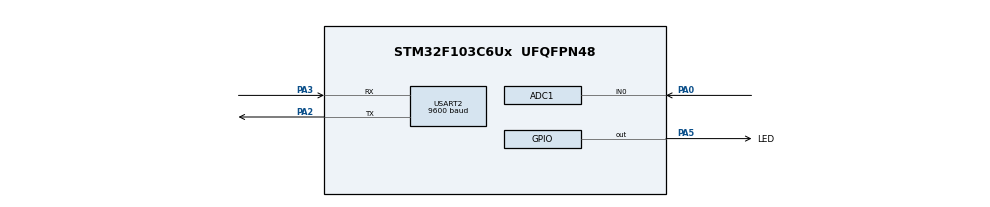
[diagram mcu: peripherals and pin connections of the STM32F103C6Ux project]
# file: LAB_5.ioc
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ADC1.Channel-0\#ChannelRegularConversion=ADC_CHANNEL_0
ADC1.ContinuousConvMode=ENABLE
ADC1.NbrOfConversionFlag=1
ADC1.Rank-0\#ChannelRegularConversion=1
ADC1.SamplingTime-0\#ChannelRegularConversion=ADC_SAMPLETIME_1CYCLE_5
ADC1.master=1
Mcu.Family=STM32F1
Mcu.Name=STM32F103C6Ux
Mcu.Package=UFQFPN48
NVIC.PriorityGroup=NVIC_PRIORITYGROUP_4
NVIC.TIM2_IRQn=true\:0\:0\:false\:false\:true\:true\:true
NVIC.USART2_IRQn=true\:0\:0\:false\:false\:true\:true\:true
PA0-WKUP.Signal=ADCx_IN0
PA2.Mode=Asynchronous
PA2.Signal=USART2_TX
PA3.Mode=Asynchronous
PA3.Signal=USART2_RX
PA5.GPIO_Label=LED
PA5.Signal=GPIO_Output
ProjectManager.HeapSize=0x200
ProjectManager.StackSize=0x400
ProjectManager.TargetToolchain=STM32CubeIDE
RCC.APB1Freq_Value=8000000
RCC.APB2Freq_Value=8000000
SH.ADCx_IN0.0=ADC1_IN0,IN0
TIM2.Period=7999
TIM2.Prescaler=9
USART2.BaudRate=9600
USART2.VirtualMode=VM_ASYNC
VP_SYS_VS_ND.Mode=No_Debug
VP_TIM2_VS_ClockSourceINT.Mode=Internal
board=custom

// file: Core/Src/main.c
/* USER CODE BEGIN Header */
/**
  ******************************************************************************
  * @file           : main.c
  * @brief          : Main program body
  ******************************************************************************
  * @attention
  *
  * <h2><center>&copy; Copyright (c) 2023 STMicroelectronics.
  * All rights reserved.</center></h2>
  *
  * This software component is licensed by ST under BSD 3-Clause license,
  * the "License"; You may not use this file except in compliance with the
  * License. You may obtain a copy of the License at:
  *                        opensource.org/licenses/BSD-3-Clause
  *
  ******************************************************************************
  */
/* USER CODE END Header */
#include "main.h"

/* USER CODE BEGIN Includes */
#include "global.h"

/* USER CODE END Includes */

ADC_HandleTypeDef hadc1;

TIM_HandleTypeDef htim2;

UART_HandleTypeDef huart2;

void SystemClock_Config(void);
static void MX_GPIO_Init(void);
static void MX_ADC1_Init(void);
static void MX_USART2_UART_Init(void);
static void MX_TIM2_Init(void);

/* USER CODE BEGIN 0 */

int parser_status = INIT;
int message_status = INIT;

int ADC_value = 0;
char str[50];

void command_parser_fsm() {
	int index;
	if (index_buffer == 0) index = MAX_BUFFER_SIZE - 1;
	else index = index_buffer - 1;

	switch(parser_status) {
	case INIT:
		if (buffer[index] == '!') parser_status = _;
		break;
	case _:
		if (buffer[index] == 'R') parser_status = _R;
		else parser_status = INIT;
		break;
	case _R:
		if (buffer[index] == 'S') parser_status = _RS;
		else parser_status = INIT;
		break;
	case _RS:
		if (buffer[index] == 'T') parser_status = _RST;
		else parser_status = INIT;
		break;
	case _RST:
		if (buffer[index] == '#') {
			parser_status = _RST_;
			message_status = SEND;
		}
		else parser_status = INIT;
		break;
	case _RST_:
		if (buffer[index] == '!') parser_status = END;
		break;
	// END COMMUNICATION
	case END:
		if (buffer[index] == 'O') parser_status = O;
		else parser_status = _RST_;
		break;
	case O:
		if (buffer[index] == 'K') parser_status = OK;
		else parser_status = _RST_;
		break;
	case OK:
		if (buffer[index] == '#') {
			message_status = INIT;
			parser_status = INIT;
		}
		else parser_status = _RST_;
		break;
	default:
		break;
	}
}

void uart_communiation_fsm() {
	switch (message_status) {
	case INIT:
		break;
	case SEND:
		ADC_value = HAL_ADC_GetValue(&hadc1);
		HAL_UART_Transmit(&huart2, (void *)str, sprintf(str, "\r!ADC=%d#\r\n", ADC_value), 1000);
		setTimer1(3000);
		message_status = WAIT;
		break;
	case WAIT:
		if (timer1_flag) message_status = SEND;
		break;
	default:
		break;
	}
}

/* USER CODE END 0 */

int main(void)
{

  /* MCU Configuration--------------------------------------------------------*/

  /* Reset of all peripherals, Initializes the Flash interface and the Systick. */
  HAL_Init();

  /* Configure the system clock */
  SystemClock_Config();

  /* Initialize all configured peripherals */
  MX_GPIO_Init();
  MX_ADC1_Init();
  MX_USART2_UART_Init();
  MX_TIM2_Init();
  /* USER CODE BEGIN 2 */
  HAL_UART_Receive_IT(&huart2, &temp, 1);
  HAL_TIM_Base_Start_IT(&htim2);
  HAL_ADC_Start(&hadc1);
  /* USER CODE END 2 */

  /* Infinite loop */
  /* USER CODE BEGIN WHILE */

  while (1)
  {

	  if (buffer_flag) {
		  command_parser_fsm();
		  buffer_flag = 0;
	  }
	  uart_communiation_fsm();
    /* USER CODE END WHILE */

  }
}

void SystemClock_Config(void)
{
  RCC_OscInitTypeDef RCC_OscInitStruct = {0};
  RCC_ClkInitTypeDef RCC_ClkInitStruct = {0};
  RCC_PeriphCLKInitTypeDef PeriphClkInit = {0};

  /** Initializes the RCC Oscillators according to the specified parameters
  * in the RCC_OscInitTypeDef structure.
  */
  RCC_OscInitStruct.OscillatorType = RCC_OSCILLATORTYPE_HSI;
  RCC_OscInitStruct.HSIState = RCC_HSI_ON;
  RCC_OscInitStruct.HSICalibrationValue = RCC_HSICALIBRATION_DEFAULT;
  RCC_OscInitStruct.PLL.PLLState = RCC_PLL_NONE;
  if (HAL_RCC_OscConfig(&RCC_OscInitStruct) != HAL_OK)
  {
    Error_Handler();
  }
  /** Initializes the CPU, AHB and APB buses clocks
  */
  RCC_ClkInitStruct.ClockType = RCC_CLOCKTYPE_HCLK|RCC_CLOCKTYPE_SYSCLK
                              |RCC_CLOCKTYPE_PCLK1|RCC_CLOCKTYPE_PCLK2;
  RCC_ClkInitStruct.SYSCLKSource = RCC_SYSCLKSOURCE_HSI;
  RCC_ClkInitStruct.AHBCLKDivider = RCC_SYSCLK_DIV1;
  RCC_ClkInitStruct.APB1CLKDivider = RCC_HCLK_DIV1;
  RCC_ClkInitStruct.APB2CLKDivider = RCC_HCLK_DIV1;

  if (HAL_RCC_ClockConfig(&RCC_ClkInitStruct, FLASH_LATENCY_0) != HAL_OK)
  {
    Error_Handler();
  }
  PeriphClkInit.PeriphClockSelection = RCC_PERIPHCLK_ADC;
  PeriphClkInit.AdcClockSelection = RCC_ADCPCLK2_DIV2;
  if (HAL_RCCEx_PeriphCLKConfig(&PeriphClkInit) != HAL_OK)
  {
    Error_Handler();
  }
}

static void MX_ADC1_Init(void)
{

  ADC_ChannelConfTypeDef sConfig = {0};

  /** Common config
  */
  hadc1.Instance = ADC1;
  hadc1.Init.ScanConvMode = ADC_SCAN_DISABLE;
  hadc1.Init.ContinuousConvMode = ENABLE;
  hadc1.Init.DiscontinuousConvMode = DISABLE;
  hadc1.Init.ExternalTrigConv = ADC_SOFTWARE_START;
  hadc1.Init.DataAlign = ADC_DATAALIGN_RIGHT;
  hadc1.Init.NbrOfConversion = 1;
  if (HAL_ADC_Init(&hadc1) != HAL_OK)
  {
    Error_Handler();
  }
  /** Configure Regular Channel
  */
  sConfig.Channel = ADC_CHANNEL_0;
  sConfig.Rank = ADC_REGULAR_RANK_1;
  sConfig.SamplingTime = ADC_SAMPLETIME_1CYCLE_5;
  if (HAL_ADC_ConfigChannel(&hadc1, &sConfig) != HAL_OK)
  {
    Error_Handler();
  }

}

static void MX_TIM2_Init(void)
{

  TIM_ClockConfigTypeDef sClockSourceConfig = {0};
  TIM_MasterConfigTypeDef sMasterConfig = {0};

  htim2.Instance = TIM2;
  htim2.Init.Prescaler = 9;
  htim2.Init.CounterMode = TIM_COUNTERMODE_UP;
  htim2.Init.Period = 7999;
  htim2.Init.ClockDivision = TIM_CLOCKDIVISION_DIV1;
  htim2.Init.AutoReloadPreload = TIM_AUTORELOAD_PRELOAD_DISABLE;
  if (HAL_TIM_Base_Init(&htim2) != HAL_OK)
  {
    Error_Handler();
  }
  sClockSourceConfig.ClockSource = TIM_CLOCKSOURCE_INTERNAL;
  if (HAL_TIM_ConfigClockSource(&htim2, &sClockSourceConfig) != HAL_OK)
  {
    Error_Handler();
  }
  sMasterConfig.MasterOutputTrigger = TIM_TRGO_RESET;
  sMasterConfig.MasterSlaveMode = TIM_MASTERSLAVEMODE_DISABLE;
  if (HAL_TIMEx_MasterConfigSynchronization(&htim2, &sMasterConfig) != HAL_OK)
  {
    Error_Handler();
  }

}

static void MX_USART2_UART_Init(void)
{

  huart2.Instance = USART2;
  huart2.Init.BaudRate = 9600;
  huart2.Init.WordLength = UART_WORDLENGTH_8B;
  huart2.Init.StopBits = UART_STOPBITS_1;
  huart2.Init.Parity = UART_PARITY_NONE;
  huart2.Init.Mode = UART_MODE_TX_RX;
  huart2.Init.HwFlowCtl = UART_HWCONTROL_NONE;
  huart2.Init.OverSampling = UART_OVERSAMPLING_16;
  if (HAL_UART_Init(&huart2) != HAL_OK)
  {
    Error_Handler();
  }

}

static void MX_GPIO_Init(void)
{
  GPIO_InitTypeDef GPIO_InitStruct = {0};

  /* GPIO Ports Clock Enable */
  __HAL_RCC_GPIOA_CLK_ENABLE();

  /*Configure GPIO pin Output Level */
  HAL_GPIO_WritePin(LED_GPIO_Port, LED_Pin, GPIO_PIN_RESET);

  /*Configure GPIO pin : LED_Pin */
  GPIO_InitStruct.Pin = LED_Pin;
  GPIO_InitStruct.Mode = GPIO_MODE_OUTPUT_PP;
  GPIO_InitStruct.Pull = GPIO_NOPULL;
  GPIO_InitStruct.Speed = GPIO_SPEED_FREQ_LOW;
  HAL_GPIO_Init(LED_GPIO_Port, &GPIO_InitStruct);

}

/* USER CODE BEGIN 4 */
void HAL_UART_RxCpltCallback(UART_HandleTypeDef *huart) {
	if (huart->Instance == USART2) {
//		HAL_UART_Transmit (&huart2 , &temp , 1, 50) ;
		buffer[index_buffer++] = temp;
		if (index_buffer == MAX_BUFFER_SIZE) index_buffer = 0;
		buffer_flag = 1;
		HAL_UART_Receive_IT(&huart2, &temp, 1);
	}
}

void HAL_TIM_PeriodElapsedCallback(TIM_HandleTypeDef *htim) {
	timerRun();
}

/* USER CODE END 4 */

void Error_Handler(void)
{
  __disable_irq();
  while (1)
  {
  }
}

/************************ (C) COPYRIGHT STMicroelectronics *****END OF FILE****/
